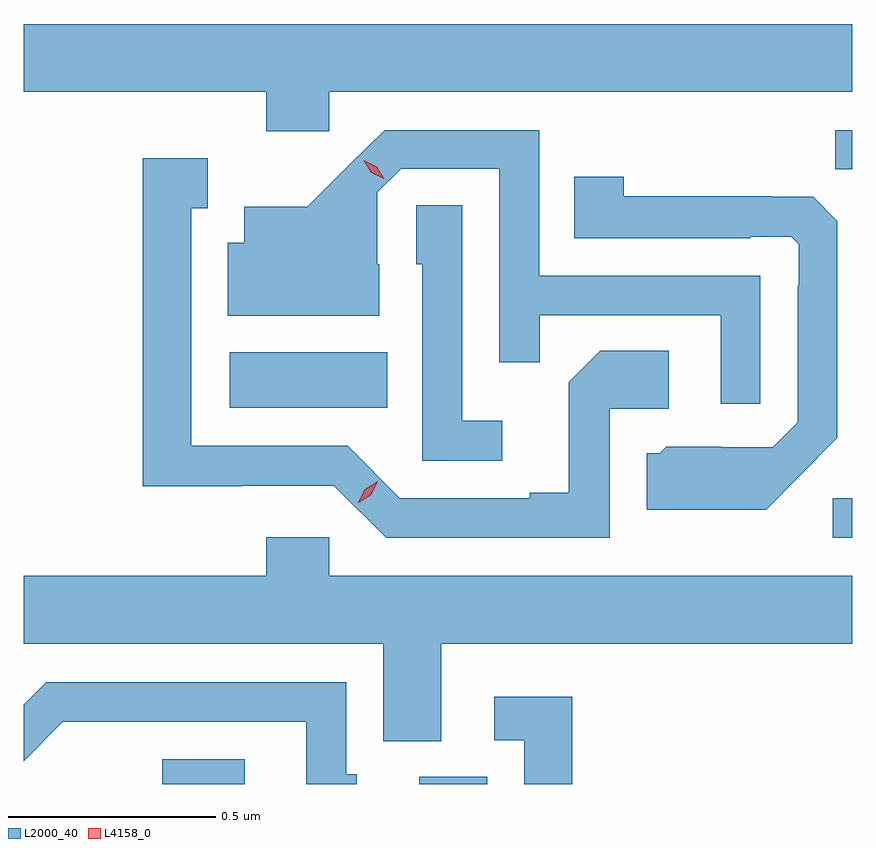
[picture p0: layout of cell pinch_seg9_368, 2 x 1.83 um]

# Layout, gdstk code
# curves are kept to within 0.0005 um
import gdstk
lib = gdstk.Library(unit=1e-6, precision=1e-09)
def R(c, l, rs):  # rectangles x0, y0, x1, y1
    for r in rs: c.add(gdstk.rectangle(r[:2], r[2:], *l))
def P(c, l, *ps):  # polygons
    for p in ps: c.add(gdstk.Polygon(p, *l))
L2000_40 = (2000, 40)
L4158_0 = (4158, 0)

pinch_seg9_368 = lib.new_cell('pinch_seg9_368')
R(pinch_seg9_368, L2000_40, [(633.384,1173.438,633.583,1173.498), (634.004,1173.438,634.168,1173.456), (635.001,1174.032,635.049,1174.128), (633.546,1174.346,633.926,1174.48), (635.008,1174.921,635.049,1175.016)])
P(pinch_seg9_368, L2000_40, [(633.786,1175.108),(635.049,1175.108),(635.049,1175.272),(633.049,1175.272),(633.049,1175.108),(633.635,1175.108),(633.635,1175.013),(633.786,1175.013)],
  [(634.827,1174.665),(634.293,1174.665),(634.293,1175.016),(633.92,1175.016),(633.733,1174.831),(633.581,1174.831),(633.581,1174.744),(633.542,1174.744),(633.542,1174.568),(633.907,1174.568),(633.907,1174.692),(633.903,1174.692),(633.903,1174.866),(633.96,1174.923),(634.197,1174.923),(634.197,1174.456),(634.295,1174.456),(634.295,1174.569),(634.731,1174.569),(634.731,1174.356),(634.827,1174.356)],
  [(634.464,1174.344),(634.606,1174.344),(634.606,1174.484),(634.441,1174.484),(634.365,1174.408),(634.365,1174.141),(634.271,1174.141),(634.271,1174.128),(633.957,1174.128),(633.831,1174.254),(633.454,1174.254),(633.454,1174.827),(633.493,1174.827),(633.493,1174.948),(633.336,1174.948),(633.336,1174.157),(633.576,1174.157),(633.576,1174.158),(633.798,1174.158),(633.924,1174.032),(634.464,1174.032)],
  [(634.921,1174.181),(635.013,1174.274),(635.013,1174.796),(634.954,1174.855),(634.853,1174.855),(634.853,1174.856),(634.497,1174.856),(634.497,1174.903),(634.378,1174.903),(634.378,1174.755),(634.802,1174.755),(634.802,1174.758),(634.902,1174.758),(634.92,1174.74),(634.92,1174.64),(634.917,1174.64),(634.917,1174.311),(634.857,1174.251),(634.734,1174.251),(634.734,1174.252),(634.6,1174.252),(634.584,1174.236),(634.553,1174.236),(634.553,1174.1),(634.841,1174.1)],
  [(634.204,1174.315),(634.107,1174.315),(634.107,1174.835),(633.996,1174.835),(633.996,1174.692),(634.011,1174.692),(634.011,1174.218),(634.204,1174.218)],
  [(634.057,1173.776),(635.049,1173.776),(635.049,1173.94),(633.786,1173.94),(633.786,1174.033),(633.635,1174.033),(633.635,1173.94),(633.049,1173.94),(633.049,1173.776),(633.917,1173.776),(633.917,1173.541),(634.057,1173.541)],
  [(633.853,1173.462),(633.828,1173.462),(633.828,1173.684),(633.104,1173.684),(633.049,1173.629),(633.049,1173.493),(633.144,1173.588),(633.731,1173.588),(633.731,1173.438),(633.853,1173.438)],
  [(634.373,1173.649),(634.185,1173.649),(634.185,1173.543),(634.257,1173.543),(634.257,1173.438),(634.373,1173.438)])
P(pinch_seg9_368, L4158_0, [(633.918,1174.898),(633.888,1174.913),(633.87,1174.942),(633.87,1174.943),(633.87,1174.943),(633.901,1174.928),(633.919,1174.898),(633.919,1174.898)],
  [(633.855,1174.116),(633.855,1174.116),(633.872,1174.149),(633.904,1174.168),(633.904,1174.168),(633.904,1174.167),(633.887,1174.135),(633.855,1174.116)])

lib.write_gds('pinch_seg9_368.gds')
